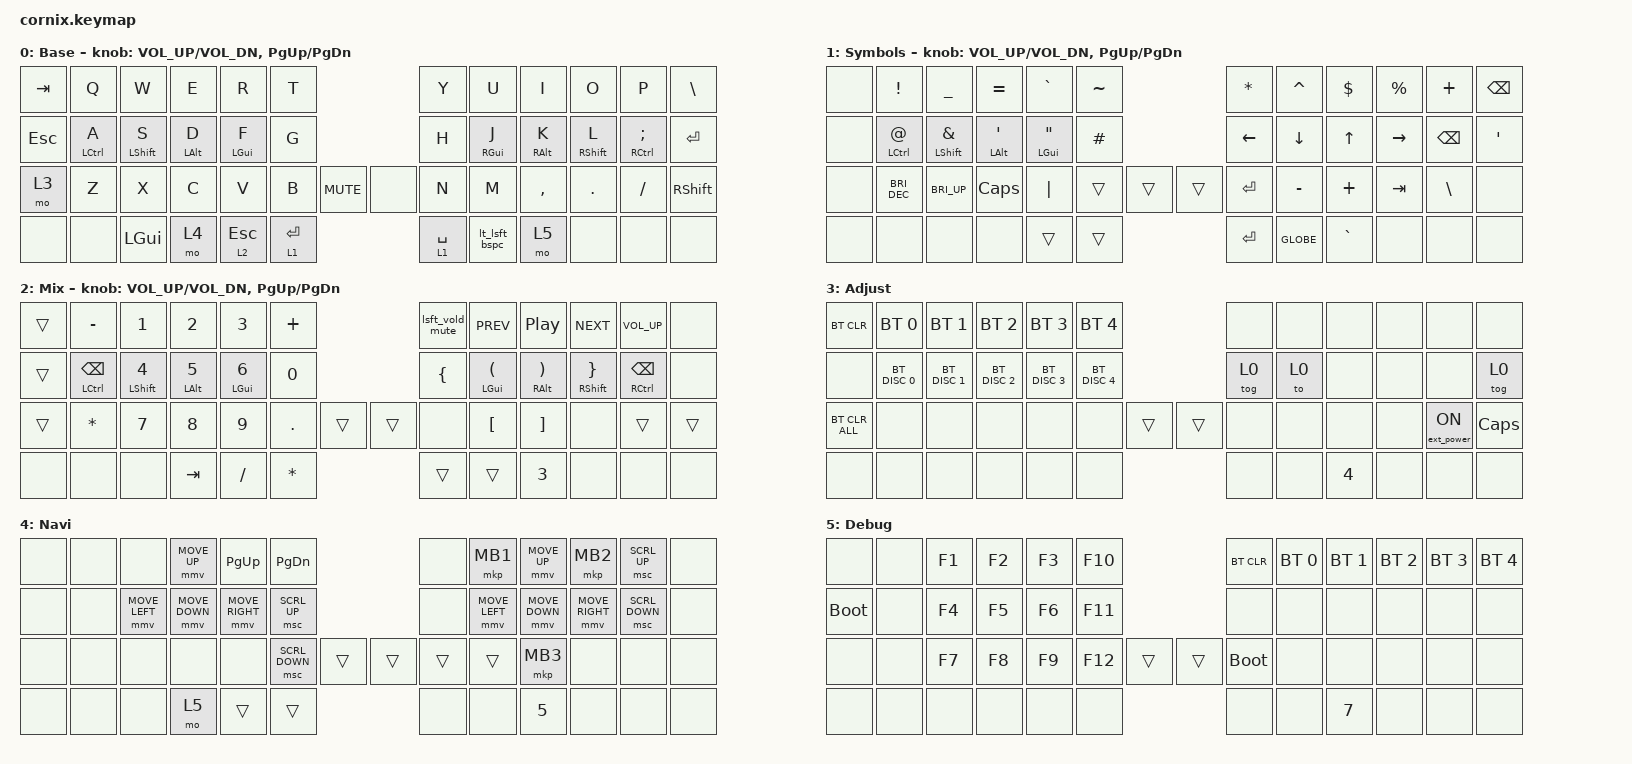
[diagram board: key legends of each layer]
/*
 * Copyright (c) 2020 The ZMK Contributors
 *
 * SPDX-License-Identifier: MIT
 */

#include "zmk-helpers/helper.h"
#include "includes/cornix54.h"

// tap windows for ctl alt and gui

#define HM_TAPPING_TERM 200
#define HM_TAPPING_REPEAT 210

// quick tapping for shift

#define HM_TAPPING_TERM_FAST 200
#define HM_PRIOR_IDLE 70
#define BASE 0
#define WIN 1
#define LOWER 2
#define RAISE 3
#define ADJUST 4
#define NAVI   5
#define NUM    6
#define DEBUG  7

// https://github.com/urob/zmk-config/tree/main#timeless-homerow-mods

#define KEYS_L LT0 LT1 LT2 LT3 LT4 LT5 LM0 LM1 LM2 LM3 LM4 LM5 LB0 LB1 LB2 LB3 LB4 LB5 RM1 RM2 RM3 RM4 // left hand
#define KEYS_R RT0 RT1 RT2 RT3 RT4 RT5 RM0 RM1 RM2 RM3 RM4 RM5 RB0 RB1 RB2 RB3 RB4 RB5 LM1 LM2 LM3 LM4 // right hand
#define THUMBS LH1 LH0 RH0 RH1
#define KEYS_T LH1 LH0 RH0 RH1
#define ZMK_POINTING_DEFAULT_SCRL_VAL 15

#include <behaviors.dtsi>
#include <dt-bindings/zmk/bt.h>
#include <dt-bindings/zmk/ext_power.h>
#include <dt-bindings/zmk/keys.h>
#include <dt-bindings/zmk/pointing.h>

/ {
    // Activate ADJUST layer by pressing raise and lower

    behaviors {
        hm_l: homerow_mods_left {
            compatible = "zmk,behavior-hold-tap";
            #binding-cells = <2>;
            bindings = <&kp>, <&kp>;

            flavor = "balanced";
            tapping-term-ms = <HM_TAPPING_TERM>;
            quick-tap-ms = <200>;                // repeat on tap-into-hold
            /* require-prior-idle-ms = <HM_PRIOR_IDLE>; */

            hold-trigger-key-positions = <KEYS_R KEYS_T>;

            /* hold-trigger-on-release; */
        };

        hm_r: homerow_mods_right {
            compatible = "zmk,behavior-hold-tap";
            #binding-cells = <2>;
            bindings = <&kp>, <&kp>;

            flavor = "balanced";
            tapping-term-ms = <HM_TAPPING_TERM>;
            quick-tap-ms = <200>;

            /* require-prior-idle-ms = <HM_PRIOR_IDLE>; */

            hold-trigger-key-positions = <KEYS_L KEYS_T>;

            /* hold-trigger-on-release; */
        };

        // Positional Homerow mods for shift
        // Use faster tapping term and disable some features that may
        // cause false negatives.

        hm_shift_l: hm_shift_l {
            compatible = "zmk,behavior-hold-tap";
            #binding-cells = <2>;
            bindings = <&kp>, <&kp>;

            flavor = "balanced";
            tapping-term-ms = <HM_TAPPING_TERM_FAST>;
            quick-tap-ms = <200>;

            /* require-prior-idle-ms = <HM_PRIOR_IDLE>; */

            hold-trigger-key-positions = <KEYS_R KEYS_T>;

            /* hold-trigger-on-release; */
        };

        hm_shift_r: hm_shift_r {
            compatible = "zmk,behavior-hold-tap";
            #binding-cells = <2>;
            bindings = <&kp>, <&kp>;

            flavor = "balanced";
            tapping-term-ms = <HM_TAPPING_TERM_FAST>;
            quick-tap-ms = <200>;

            /* require-prior-idle-ms = <HM_PRIOR_IDLE>; */

            hold-trigger-key-positions = <KEYS_L KEYS_T>;

            // for quick tapping; shift+~
            /* hold-trigger-on-release; */
        };

        /*
         * Non-Positional Homerow Mods
         * Used for &mm_grescm_gui behavior on left hand.
         *
         * Usage: &hm LSHFT T
         * Tap: T
         * Tap-Tap-Hold: Repeat T
         * Hold: LSHIFT
         */

        hm: homerow_mods {
            compatible = "zmk,behavior-hold-tap";
            #binding-cells = <2>;
            bindings = <&kp>, <&kp>;

            flavor = "balanced";
            tapping-term-ms = <HM_TAPPING_TERM>;
            quick-tap-ms = <200>;
        };

        lt: layer_tap {
            compatible = "zmk,behavior-hold-tap";
            #binding-cells = <2>;
            bindings = <&mo>, <&kp>;

            flavor = "balanced";
            tapping-term-ms = <HM_TAPPING_TERM>;
            quick-tap-ms = <200>;
        };

        lsft_vold_mute: lsft_vold_mute {
            compatible = "zmk,behavior-mod-morph";
            label = "LSFT_VOLD_MUTE";
            bindings = <&kp C_VOL_DN>, <&kp C_MUTE>;

            #binding-cells = <0>;
            mods = <(MOD_LCTL)>;
        };

        lsft_ast_perc: lsft_ast_perc {
            compatible = "zmk,behavior-mod-morph";
            label = "LSFT_AST_PERC";
            bindings = <&kp ASTERISK>, <&kp PERCENT>;

            #binding-cells = <0>;
            mods = <(MOD_LSFT)>;
        };

        lsft_bspc: lsft_bspc {
            compatible = "zmk,behavior-mod-morph";
            label = "LSFT_BSPC";
            bindings = <&kp BACKSPACE>, <&kp DELETE>;

            #binding-cells = <0>;
            mods = <(MOD_LSFT)>;
        };

        lt_lsft_bspc: lt_lsft_bspc {
            compatible = "zmk,behavior-mod-morph";
            label = "LT_LSFT_BSPC";
            bindings = <&lt 2 BACKSPACE>, <&kp DEL>;

            #binding-cells = <0>;
            mods = <(MOD_LSFT)>;
        };
    };

    conditional_layers {
        compatible = "zmk,conditional-layers";

        adjust_layer {
            if-layers = <2 1>;
            then-layer = <3>;
        };
    };

    combos {
        compatible = "zmk,combos";

        tab {
            bindings = <&hm_r LA(RSHFT) TAB>;
            key-positions = <20 21>;
            layers = <0>;
            timeout-ms = <40>;
        };

        star {
            bindings = <&lsft_ast_perc>;
            key-positions = <20 33>;
            timeout-ms = <25>;
            layers = <0 2>;
        };

        lpar {
            bindings = <&kp LPAR>;
            key-positions = <18 20>;
            timeout-ms = <25>;
            layers = <0>;
        };

        rpar {
            bindings = <&hm_r RG(RALT) RIGHT_PARENTHESIS>;
            key-positions = <19 20>;
            timeout-ms = <25>;
            layers = <0>;
        };

        minus {
            bindings = <&kp MINUS>;
            key-positions = <33 34>;
            timeout-ms = <25>;
            layers = <0 2>;
        };

        plus {
            bindings = <&kp PLUS>;
            key-positions = <34 35>;
            timeout-ms = <25>;
            layers = <0 2>;
        };

        equal {
            bindings = <&kp EQUAL>;
            key-positions = <7 8>;
            timeout-ms = <25>;
            layers = <0>;
        };

        lbkt {
            bindings = <&kp LEFT_BRACKET>;
            key-positions = <19 34>;
            timeout-ms = <30>;
            layers = <0>;
        };

        rbkt {
            bindings = <&kp RIGHT_BRACKET>;
            key-positions = <19 35>;
            layers = <0>;
            timeout-ms = <30>;
        };

        grv {
            bindings = <&hm_l LA(LSHFT) GRAVE>;
            key-positions = <14 15>;
            timeout-ms = <40>;
            layers = <0>;
        };

        quo {
            bindings = <&hm_l LG(LALT) SINGLE_QUOTE>;
            key-positions = <15 16>;
            timeout-ms = <40>;
            layers = <0>;
        };

        hash {
            bindings = <&hm_l LG(LSHFT) HASH>;
            key-positions = <16 14>;
            timeout-ms = <40>;
            layers = <0>;
        };

        tilde {
            bindings = <&kp TILDE>;
            key-positions = <27 28>;
            timeout-ms = <40>;
            layers = <0>;
        };

        rbrc {
            bindings = <&hm_r RG(RSHFT) RIGHT_BRACE>;
            key-positions = <19 21>;
            timeout-ms = <25>;
            layers = <0>;
        };

        lbrc {
            bindings = <&kp LEFT_BRACE>;
            key-positions = <18 21>;
            timeout-ms = <25>;
            layers = <0>;
        };

        underscore {
            bindings = <&hm_r RC(RSHIFT) UNDER>;
            key-positions = <21 22>;
            timeout-ms = <25>;
            layers = <0>;
        };
    };

    keymap {
        compatible = "zmk,keymap";

        default_layer {
            display-name = "Base";

            // ------------------------------------------------------------------------------------------------------------
            // |   `   |  1  |  2  |  3   |  4   |  5   |                   |  6   |  7    |  8    |  9   |   0   |       |
            // |  ESC  |  Q  |  W  |  E   |  R   |  T   |                   |  Y   |  U    |  I    |  O   |   P   | BKSPC |
            // |  TAB  |  A  |  S  |  D   |  F   |  G   |                   |  H   |  J    |  K    |  L   |   ;   |   '   |
            // | SHIFT |  Z  |  X  |  C   |  V   |  B   |  MUTE  |  |       |  N   |  M    |  ,    |  .   |   /   | SHIFT |
            //               | GUI | ALT  | CTRL | LOWER|  ENTER |  | SPACE | RAISE| CTRL  | ALT   | GUI  |

            bindings = <
&kp TAB  &kp Q          &kp W                 &kp E         &kp R         &kp T                           &kp Y        &kp U          &kp I         &kp O                &kp P             &kp BSLH
&kp ESC  &hm_l LCTRL A  &hm_shift_l LSHIFT S  &hm_l LALT D  &hm_l LGUI F  &kp G                           &kp H        &hm_r RGUI J   &hm_r RALT K  &hm_shift_r RSHFT L  &hm_r RCTRL SEMI  &kp ENTER
&mo 3    &kp Z          &kp X                 &kp C         &kp V         &kp B        &kp C_MUTE  &none  &kp N        &kp M          &kp COMMA     &kp DOT              &kp FSLH          &kp RSHIFT
&none    &none          &kp LGUI              &mo 4         &lt 2 ESCAPE  &lt 1 ENTER                     &lt 1 SPACE  &lt_lsft_bspc  &mo 5         &none                &none             &none
            >;

            sensor-bindings = <&inc_dec_kp C_VOL_UP C_VOL_DN &inc_dec_kp PG_UP PG_DN>;
        };

        Symbol_layer {
            display-name = "Symbols";

            // TODO: Some binds are waiting for shifted keycode support.
            // -------------------------------
            // |       |  F1 |  F2 |  F3  |  F4  |  F5  |                   |  F6  |  F7   |  F8   |  F9  |  F10  |  F11  |
            // |   `   |  1  |  2  |  3   |  4   |  5   |                   |  6   |  7    |  8    |  9   |   0   |  F12  |
            // |       |  !  |  @  |  #   |  $   |  %   |                   |  ^   |  &    |  *    |  (   |   )   |   |   |
            // |       |  =  |  -  |  +   |  {   |  }   |        |  |       |  [   |  ]    |  ;    |  :   |   \   |       |
            //               |     |      |      |      |        |  |       |      |       |       |      |

            bindings = <
&none  &kp EXCL             &kp UNDERSCORE         &kp EQUAL                &kp GRAVE                 &kp TILDE                  &kp ASTERISK    &kp CARET  &kp DOLLAR    &kp PERCENT  &kp PLUS       &kp BACKSPACE
&none  &hm_l LCTRL AT_SIGN  &hm_l LSHFT AMPERSAND  &hm_l LALT SINGLE_QUOTE  &hm_l LGUI DOUBLE_QUOTES  &kp HASH                   &kp LEFT_ARROW  &kp DOWN   &kp UP_ARROW  &kp RIGHT    &kp BACKSPACE  &kp SQT
&none  &kp C_BRI_DEC        &kp C_BRI_UP           &kp CAPSLOCK             &kp PIPE                  &trans     &trans  &trans  &kp ENTER       &kp MINUS  &kp PLUS      &kp TAB      &kp BACKSLASH  &none
&none  &none                &none                  &none                    &trans                    &trans                     &kp ENTER       &kp GLOBE  &kp GRAVE     &none        &none          &none
            >;

            sensor-bindings = <&inc_dec_kp C_VOL_UP C_VOL_DN &inc_dec_kp PG_UP PG_DN>;
        };

        Mix_layer {
            display-name = "Mix";

            // ------------------------------------------------------------------------------------------------------------
            // | BTCLR | BT1  | BT2  |  BT3  |  BT4  |  BT5 |                |      |      |       |      |       |       |
            // |       | INS  | PSCR | GUI   |       |      |                | PGUP |      |   ^   |      |       |       |
            // |       | ALT  | CTRL | SHIFT |       | CAPS |                | PGDN |   <- |   v   |  ->  |  DEL  | BKSPC |
            // |       | UNDO | CUT  | COPY  | PASTE |      |      |  |      |      |      |       |      |       |       |
            //                |      |       |       |      |      |  |      |      |      |       |      |

            bindings = <
&trans  &kp MINUS              &kp NUMBER_1          &kp NUMBER_2   &kp NUMBER_3         &kp PLUS                      &lsft_vold_mute  &kp C_PREV                   &kp C_PLAY_PAUSE              &kp C_NEXT               &kp C_VOL_UP           &none
&trans  &hm_l LCTRL BACKSPACE  &hm_l LSHFT NUMBER_4  &hm_l LALT N5  &hm_l LGUI NUMBER_6  &kp N0                        &kp LEFT_BRACE   &hm_r LGUI LEFT_PARENTHESIS  &hm_r RALT RIGHT_PARENTHESIS  &hm_r RSHFT RIGHT_BRACE  &hm_r RCTRL BACKSPACE  &none
&trans  &kp ASTERISK           &kp N7                &kp N8         &kp N9               &kp PERIOD    &trans  &trans  &none            &kp LEFT_BRACKET             &kp RIGHT_BRACKET             &none                    &trans                 &trans
&none   &none                  &none                 &kp TAB        &kp SLASH            &kp ASTERISK                  &trans           &trans                       &kp N3                        &none                    &none                  &none
            >;

            sensor-bindings = <&inc_dec_kp C_VOL_UP C_VOL_DN &inc_dec_kp PG_UP PG_DN>;
        };

        Adjust_layer {
            display-name = "Adjust";

            // ----------------------------------------------------------------------------------------------------------------------------
            // | BTCLR  |  BT1    |  BT2    |   BT3   |   BT4   |   BT5   |                  |      |      |       |      |       |       |
            // | moDEBUG| RGB_HUD | RGB_HUI | RGB_SAD | RGB_SAI | RGB_EFF |                  |      |      |       |      |       |       |
            // | EXTPWR | RGB_BRD | RGB_BRI |         |         |         |                  |      |      |       |      |       |       |
            // |        |         |         |         |         |         | RGB_TOG | |      |      |      |       |      |       |       |
            //                    |         |         |         |         |         | |      |      |      |       |      |

            bindings = <
&bt BT_CLR      &bt BT_SEL 0   &bt BT_SEL 1   &bt BT_SEL 2   &bt BT_SEL 3   &bt BT_SEL 4                   &none   &none  &none   &none  &none             &none
&none           &bt BT_DISC 0  &bt BT_DISC 1  &bt BT_DISC 2  &bt BT_DISC 3  &bt BT_DISC 4                  &tog 0  &to 0  &none   &none  &none             &tog 0
&bt BT_CLR_ALL  &none          &none          &none          &none          &none          &trans  &trans  &none   &none  &none   &none  &ext_power EP_ON  &kp CAPSLOCK
&none           &none          &none          &none          &none          &none                          &none   &none  &kp N4  &none  &none             &none
            >;
        };

        Navi_layer {
            display-name = "Navi";
            bindings = <
&none  &none  &none           &mmv MOVE_UP    &kp PAGE_UP      &kp PAGE_DOWN                   &none   &mkp MB1        &mmv MOVE_UP    &mkp MB2         &msc SCRL_UP    &none
&none  &none  &mmv MOVE_LEFT  &mmv MOVE_DOWN  &mmv MOVE_RIGHT  &msc SCRL_UP                    &none   &mmv MOVE_LEFT  &mmv MOVE_DOWN  &mmv MOVE_RIGHT  &msc SCRL_DOWN  &none
&none  &none  &none           &none           &none            &msc SCRL_DOWN  &trans  &trans  &trans  &trans          &mkp MB3        &none            &none           &none
&none  &none  &none           &mo 5           &trans           &trans                          &none   &none           &kp N5          &none            &none           &none
            >;
        };

        Debug_layer {
            display-name = "Debug";

            // ----------------------------------------------------------------------------------------------------------------------------
            // | BTCLR  |  BT1    |  BT2    |   BT3   |   BT4   |   BT5   |                  |      |      |       |      |       |       |
            // | EXTPWR | BTCLR | RGB_HUI | RGB_SAD | RGB_SAI | RGB_EFF |                  |      |      |       |      |       |       |
            // |        | RGB_BRD | RGB_BRI |         |         |         |                  |      |      |       |      |       |       |
            // |        |         |         |         |         |         | RGB_TOG | |      |      |      |       |      |       |       |
            //                    |         |         |         |         |         | |      |      |      |       |      |

            bindings = <
&none        &none  &kp F1  &kp F2  &kp F3  &kp F10                  &bt BT_CLR   &bt BT_SEL 0  &bt BT_SEL 1  &bt BT_SEL 2  &bt BT_SEL 3  &bt BT_SEL 4
&bootloader  &none  &kp F4  &kp F5  &kp F6  &kp F11                  &none        &none         &none         &none         &none         &none
&none        &none  &kp F7  &kp F8  &kp F9  &kp F12  &trans  &trans  &bootloader  &none         &none         &none         &none         &none
&none        &none  &none   &none   &none   &none                    &none        &none         &kp N7        &none         &none         &none
            >;
        };
    };
};
